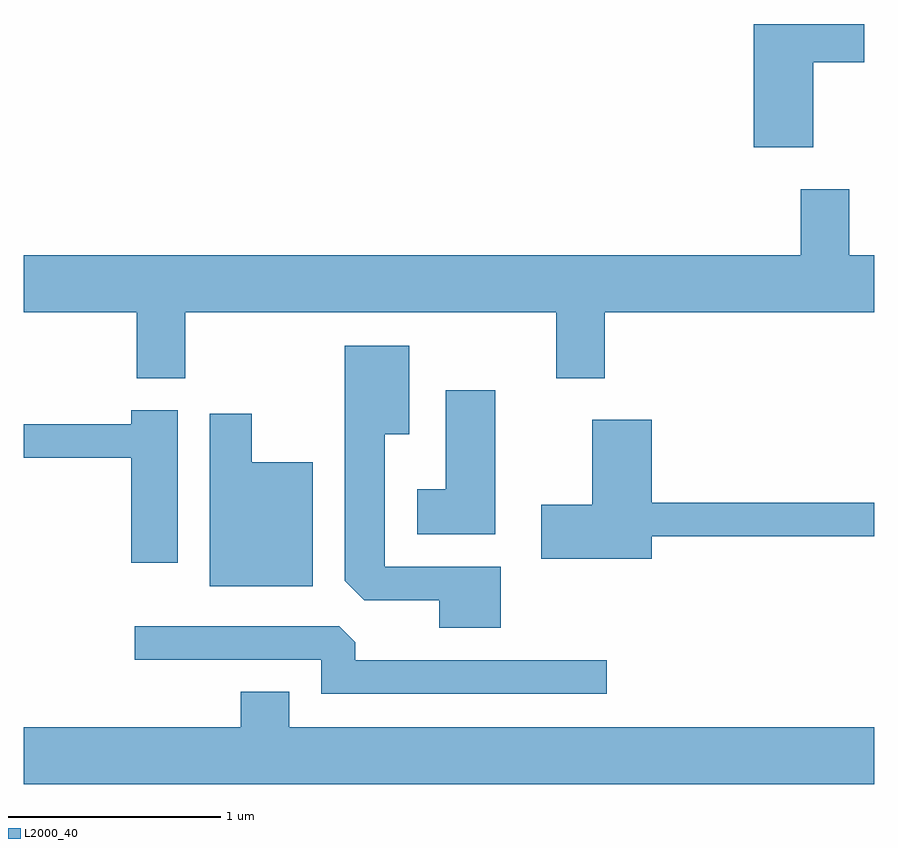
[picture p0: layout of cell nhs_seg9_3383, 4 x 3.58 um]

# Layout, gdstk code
import gdstk
lib = gdstk.Library(unit=1e-6, precision=1e-09)
def P(c, l, *ps):  # polygons
    for p in ps: c.add(gdstk.Polygon(p, *l))
L2000_40 = (2000, 40)

nhs_seg9_3383 = lib.new_cell('nhs_seg9_3383')
P(nhs_seg9_3383, L2000_40, [(287.324,2066.251),(287.564,2066.251),(287.564,2066.432),(287.046,2066.432),(287.046,2065.851),(287.324,2065.851)],
  [(284.369,2065.076),(286.116,2065.076),(286.116,2064.766),(286.344,2064.766),(286.344,2065.076),(287.611,2065.076),(287.611,2065.344),(287.494,2065.344),(287.494,2065.654),(287.266,2065.654),(287.266,2065.344),(283.611,2065.344),(283.611,2065.076),(284.141,2065.076),(284.141,2064.766),(284.369,2064.766)],
  [(285.854,2063.879),(285.309,2063.879),(285.309,2064.501),(285.424,2064.501),(285.424,2064.919),(285.121,2064.919),(285.121,2063.812),(285.212,2063.721),(285.566,2063.721),(285.566,2063.591),(285.854,2063.591)],
  [(285.829,2064.709),(285.596,2064.709),(285.596,2064.244),(285.461,2064.244),(285.461,2064.031),(285.829,2064.031)],
  [(284.334,2064.614),(284.116,2064.614),(284.116,2064.549),(283.611,2064.549),(283.611,2064.391),(284.116,2064.391),(284.116,2063.896),(284.334,2063.896)],
  [(284.969,2064.369),(284.684,2064.369),(284.684,2064.599),(284.486,2064.599),(284.486,2063.786),(284.969,2063.786)],
  [(286.564,2064.021),(287.611,2064.021),(287.611,2064.179),(286.564,2064.179),(286.564,2064.569),(286.286,2064.569),(286.286,2064.169),(286.046,2064.169),(286.046,2063.916),(286.564,2063.916)],
  [(286.353,2063.439),(285.169,2063.439),(285.169,2063.524),(285.094,2063.599),(284.133,2063.599),(284.133,2063.441),(285.011,2063.441),(285.011,2063.281),(286.353,2063.281)],
  [(287.611,2063.124),(284.859,2063.124),(284.859,2063.289),(284.631,2063.289),(284.631,2063.124),(283.611,2063.124),(283.611,2062.856),(287.611,2062.856)])

lib.write_gds('nhs_seg9_3383.gds')
